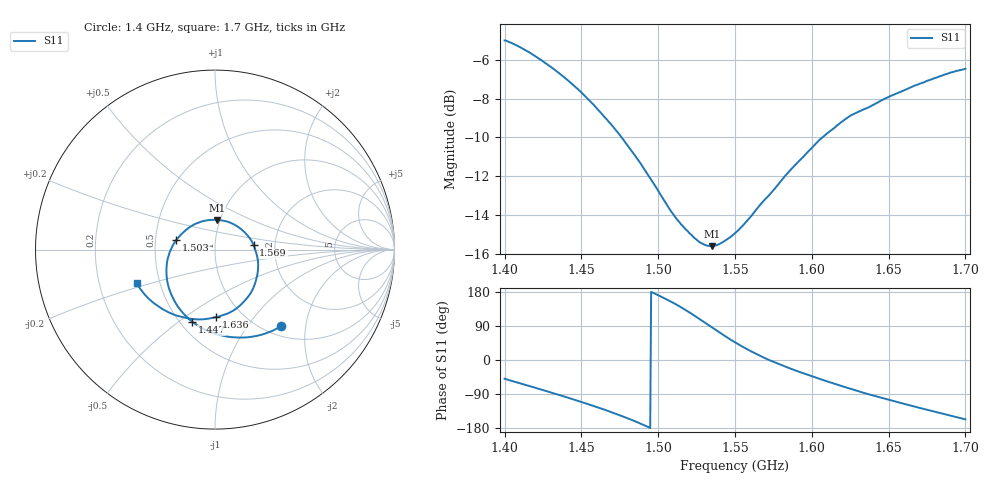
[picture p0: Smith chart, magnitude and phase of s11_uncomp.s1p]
# GHZ S RI R 50.000000000000
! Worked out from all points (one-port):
!   501 points, 1.4 GHz to 1.7 GHz, reference 50 ohm
!   lowest |S11| = -15.6 dB at 1.535 GHz (marker M1), VSWR 1.40, Z = 48.4 + j16.5 ohm
!   |S11| at or under -10 dB: 1.476 GHz to 1.607 GHz (130.8 MHz wide, 8.49 % of centre)
!   S11 on the Smith chart (normalised r, x): 1.4 GHz: 1.17, -1.46; 1.447 GHz: 0.57, -0.56; 1.503 GHz: 0.64, +0.07; 1.569 GHz: 1.55, +0.08; 1.636 GHz: 0.76, -0.67; 1.7 GHz: 0.37, -0.18
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1.4  0.3657 -0.4265
1.409  0.2686 -0.4711
1.418  0.1689 -0.4893
1.4282  0.058 -0.4828
1.4378  -0.04 -0.4532
1.4474  -0.1255 -0.4032
1.4612  -0.2173 -0.3011
1.475  -0.2654 -0.1798
1.4882  -0.2654 -0.06
1.5026  -0.2146 0.055
1.5128  -0.1566 0.113
1.5236  -0.0787 0.1552
1.535  0.0111 0.1655
1.5422  0.0674 0.1561
1.55  0.1232 0.1301
1.559  0.1753 0.0859
1.5686  0.2155 0.0248
1.5794  0.2375 -0.0503
1.5878  0.2396 -0.1132
1.6052  0.2009 -0.2389
1.616  0.1467 -0.305
1.625  0.0869 -0.3483
1.6358  0.00567 -0.3761
1.6484  -0.0905 -0.3889
1.6628  -0.2018 -0.3712
1.6796  -0.3233 -0.3112
1.691  -0.3933 -0.2485
1.7  -0.4358 -0.1888
